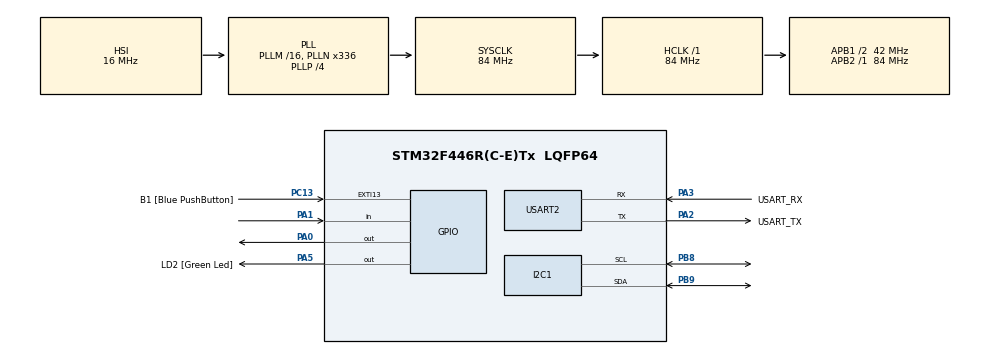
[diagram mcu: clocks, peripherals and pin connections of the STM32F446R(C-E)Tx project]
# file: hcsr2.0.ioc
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Mcu.Family=STM32F4
Mcu.Name=STM32F446R(C-E)Tx
Mcu.Package=LQFP64
NVIC.PriorityGroup=NVIC_PRIORITYGROUP_0
PA0-WKUP.Signal=GPIO_Output
PA1.Signal=GPIO_Input
PA13.GPIO_Label=TMS
PA13.Mode=Serial_Wire
PA13.Signal=SYS_JTMS-SWDIO
PA14.GPIO_Label=TCK
PA14.Mode=Serial_Wire
PA14.Signal=SYS_JTCK-SWCLK
PA2.GPIO_Label=USART_TX
PA2.Mode=Asynchronous
PA2.Signal=USART2_TX
PA3.GPIO_Label=USART_RX
PA3.Mode=Asynchronous
PA3.Signal=USART2_RX
PA5.GPIO_Label=LD2 [Green Led]
PA5.Signal=GPIO_Output
PB3.GPIO_Label=SWO
PB3.Signal=SYS_JTDO-SWO
PB8.Mode=I2C
PB8.Signal=I2C1_SCL
PB9.Mode=I2C
PB9.Signal=I2C1_SDA
PC13.GPIO_Label=B1 [Blue PushButton]
PC13.GPIO_ModeDefaultEXTI=GPIO_MODE_IT_FALLING
PC13.Signal=GPXTI13
PC14-OSC32_IN.Mode=LSE-External-Oscillator
PC14-OSC32_IN.Signal=RCC_OSC32_IN
PC15-OSC32_OUT.Mode=LSE-External-Oscillator
PC15-OSC32_OUT.Signal=RCC_OSC32_OUT
PH0-OSC_IN.Mode=HSE-External-Oscillator
PH0-OSC_IN.Signal=RCC_OSC_IN
PH1-OSC_OUT.Mode=HSE-External-Oscillator
PH1-OSC_OUT.Signal=RCC_OSC_OUT
ProjectManager.HeapSize=0x200
ProjectManager.StackSize=0x400
ProjectManager.TargetToolchain=STM32CubeIDE
RCC.48MHZClocksFreq_Value=84000000
RCC.AHBFreq_Value=84000000
RCC.APB1CLKDivider=RCC_HCLK_DIV2
RCC.APB1Freq_Value=42000000
RCC.APB1TimFreq_Value=84000000
RCC.APB2Freq_Value=84000000
RCC.APB2TimFreq_Value=84000000
RCC.CortexFreq_Value=84000000
RCC.FLatency-AdvancedSettings=FLASH_LATENCY_2
RCC.HCLKFreq_Value=84000000
RCC.HSE_VALUE=8000000
RCC.HSI_VALUE=16000000
RCC.PLLN=336
RCC.PLLP=RCC_PLLP_DIV4
RCC.SYSCLKFreq_VALUE=84000000
RCC.SYSCLKSource=RCC_SYSCLKSOURCE_PLLCLK
RCC.USBFreq_Value=168000000
RCC.VCOOutputFreq_Value=336000000
TIM2.Period=0xFFFF
TIM2.Prescaler=83
USART2.VirtualMode=VM_ASYNC
VP_TIM2_VS_ClockSourceINT.Mode=Internal
board=NUCLEO-F446RE

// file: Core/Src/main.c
/* USER CODE BEGIN Header */
///**
//  ******************************************************************************
//  * @file           : main.c
//  * @brief          : Main program body
//  ******************************************************************************
//  * @attention
//  *
//  * Copyright (c) 2026 STMicroelectronics.
//  * All rights reserved.
//  *
//  * This software is licensed under terms that can be found in the LICENSE file
//  * in the root directory of this software component.
//  * If no LICENSE file comes with this software, it is provided AS-IS.
//  *
//  ******************************************************************************
//  */
/* USER CODE END Header */
#include "main.h"

/* USER CODE BEGIN Includes */
#include "hcsr04.h"
#include <stdio.h>
#include "lcd_i2c.h"

/* USER CODE END Includes */

/* USER CODE BEGIN PTD */
//
/* USER CODE END PTD */

/* USER CODE BEGIN PD */
//
/* USER CODE END PD */

/* USER CODE BEGIN PM */
//
/* USER CODE END PM */

I2C_HandleTypeDef hi2c1;

TIM_HandleTypeDef htim2;

UART_HandleTypeDef huart2;

/* USER CODE BEGIN PV */
//
/* USER CODE END PV */

void SystemClock_Config(void);
static void MX_GPIO_Init(void);
static void MX_TIM2_Init(void);
static void MX_USART2_UART_Init(void);
static void MX_I2C1_Init(void);
/* USER CODE BEGIN PFP */
//
/* USER CODE END PFP */

/* USER CODE BEGIN 0 */
int __io_putchar(int ch)
{
    HAL_UART_Transmit(&huart2, (uint8_t *)&ch, 1, HAL_MAX_DELAY);
    return ch;
}
/* USER CODE END 0 */

int main(void)
{

  /* USER CODE BEGIN 1 */
//
  /* USER CODE END 1 */

  /* MCU Configuration--------------------------------------------------------*/

  /* Reset of all peripherals, Initializes the Flash interface and the Systick. */
  HAL_Init();

  /* USER CODE BEGIN Init */
//
  /* USER CODE END Init */

  /* Configure the system clock */
  SystemClock_Config();

  /* USER CODE BEGIN SysInit */
//
  /* USER CODE END SysInit */

  /* Initialize all configured peripherals */
  MX_GPIO_Init();
  MX_TIM2_Init();
  MX_USART2_UART_Init();
  MX_I2C1_Init();
  /* USER CODE BEGIN 2 */
  HCSR04_Init();     /* Start the µs timer */
  ///
   /* Standard addresses are 0x27 or 0x3F.
      HAL requires the address to be shifted left by 1 bit. */
   uint16_t LCD_ADDR = (0x27 << 1);

   HAL_StatusTypeDef statusl;

   statusl = HAL_I2C_IsDeviceReady(&hi2c1,LCD_ADDR, 3, 10);
//	}
      if (statusl == HAL_OK) {
          // SUCCESS: The STM32 found the LCD
    	  LCD_Init(&hi2c1);
    	  statusl = HAL_I2C_IsDeviceReady(&hi2c1,LCD_ADDR, 3, 10);
          printf("System Online");
      } else {
          // FAILURE: The STM32 cannot find the device
          // Trigger an error LED or serial print
          Error_Handler();
          statusl = HAL_I2C_IsDeviceReady(&hi2c1,LCD_ADDR, 3, 10);
      }

//  LCD_Init(&hi2c1);

  LCD_Clear();
  LCD_SetCursor(0, 0);
  LCD_Print("  HC-SR04 Live  ");
  LCD_SetCursor(0, 1);
  LCD_Print("  Initializing  ");
  HAL_Delay(1500);

  char buf[17];
  float    distance_cm;
  HCSR04_Status status;

  int filter_size = 5;
  float dist_arr[5] = {0,0,0,0,0};
//  float dist_arr[6] = {0,0,0,0,0,0};
  float distance_filt;

  void filter(float* arr, float new){
		  distance_filt = new;

		  for (int i = filter_size-1; i>0;i--){
			  arr[i]= arr[i-1];
			  distance_filt += arr[i-1];
		  }
		  arr[0]=new;
		  //printf("%.1f ; %.1f ; %.1f  \r\n",arr[0], arr[1], arr[2]);
		  distance_filt/=filter_size;

 };

  /* USER CODE END 2 */

  /* Infinite loop */
  while (1)
  {

    /* USER CODE BEGIN 3 */
	  status = HCSR04_Read(&distance_cm);
	  LCD_SetCursor(0, 0);
	  LCD_Print("  Distance (cm) ");
//	  LCD_SetCursor(0, 1);
//	  		  snprintf(buf, sizeof(buf), "    %6.1f cm   ", 0.00);
//	  		LCD_Print(buf);

	  if (status == HCSR04_OK)
	  {
		  filter(dist_arr, distance_cm);
		  printf("Distance: %.1f cm\r\n", distance_filt);
		  LCD_SetCursor(0, 1);
		  snprintf(buf, sizeof(buf), "    %6.1f cm   ", distance_filt);
		  LCD_Print(buf);
	  }
	  else
	  {
		  printf("Sensor timeout — object out of range or missing\r\n");
	  }

	  HAL_Delay(200);   /* Measure ~5 times per second */
  }
  /* USER CODE END 3 */
}

void SystemClock_Config(void)
{
  RCC_OscInitTypeDef RCC_OscInitStruct = {0};
  RCC_ClkInitTypeDef RCC_ClkInitStruct = {0};

  /** Configure the main internal regulator output voltage
  */
  __HAL_RCC_PWR_CLK_ENABLE();
  __HAL_PWR_VOLTAGESCALING_CONFIG(PWR_REGULATOR_VOLTAGE_SCALE3);

  /** Initializes the RCC Oscillators according to the specified parameters
  * in the RCC_OscInitTypeDef structure.
  */
  RCC_OscInitStruct.OscillatorType = RCC_OSCILLATORTYPE_HSI;
  RCC_OscInitStruct.HSIState = RCC_HSI_ON;
  RCC_OscInitStruct.HSICalibrationValue = RCC_HSICALIBRATION_DEFAULT;
  RCC_OscInitStruct.PLL.PLLState = RCC_PLL_ON;
  RCC_OscInitStruct.PLL.PLLSource = RCC_PLLSOURCE_HSI;
  RCC_OscInitStruct.PLL.PLLM = 16;
  RCC_OscInitStruct.PLL.PLLN = 336;
  RCC_OscInitStruct.PLL.PLLP = RCC_PLLP_DIV4;
  RCC_OscInitStruct.PLL.PLLQ = 2;
  RCC_OscInitStruct.PLL.PLLR = 2;
  if (HAL_RCC_OscConfig(&RCC_OscInitStruct) != HAL_OK)
  {
    Error_Handler();
  }

  /** Initializes the CPU, AHB and APB buses clocks
  */
  RCC_ClkInitStruct.ClockType = RCC_CLOCKTYPE_HCLK|RCC_CLOCKTYPE_SYSCLK
                              |RCC_CLOCKTYPE_PCLK1|RCC_CLOCKTYPE_PCLK2;
  RCC_ClkInitStruct.SYSCLKSource = RCC_SYSCLKSOURCE_PLLCLK;
  RCC_ClkInitStruct.AHBCLKDivider = RCC_SYSCLK_DIV1;
  RCC_ClkInitStruct.APB1CLKDivider = RCC_HCLK_DIV2;
  RCC_ClkInitStruct.APB2CLKDivider = RCC_HCLK_DIV1;

  if (HAL_RCC_ClockConfig(&RCC_ClkInitStruct, FLASH_LATENCY_2) != HAL_OK)
  {
    Error_Handler();
  }
}

static void MX_I2C1_Init(void)
{

  hi2c1.Instance = I2C1;
  hi2c1.Init.ClockSpeed = 100000;
  hi2c1.Init.DutyCycle = I2C_DUTYCYCLE_2;
  hi2c1.Init.OwnAddress1 = 0;
  hi2c1.Init.AddressingMode = I2C_ADDRESSINGMODE_7BIT;
  hi2c1.Init.DualAddressMode = I2C_DUALADDRESS_DISABLE;
  hi2c1.Init.OwnAddress2 = 0;
  hi2c1.Init.GeneralCallMode = I2C_GENERALCALL_DISABLE;
  hi2c1.Init.NoStretchMode = I2C_NOSTRETCH_DISABLE;
  if (HAL_I2C_Init(&hi2c1) != HAL_OK)
  {
    Error_Handler();
  }

}

static void MX_TIM2_Init(void)
{

  /* USER CODE BEGIN TIM2_Init 0 */
//
  /* USER CODE END TIM2_Init 0 */

  TIM_ClockConfigTypeDef sClockSourceConfig = {0};
  TIM_MasterConfigTypeDef sMasterConfig = {0};

  /* USER CODE BEGIN TIM2_Init 1 */
//
  /* USER CODE END TIM2_Init 1 */
  htim2.Instance = TIM2;
  htim2.Init.Prescaler = 83;
  htim2.Init.CounterMode = TIM_COUNTERMODE_UP;
  htim2.Init.Period = 0xFFFF;
  htim2.Init.ClockDivision = TIM_CLOCKDIVISION_DIV1;
  htim2.Init.AutoReloadPreload = TIM_AUTORELOAD_PRELOAD_DISABLE;
  if (HAL_TIM_Base_Init(&htim2) != HAL_OK)
  {
    Error_Handler();
  }
  sClockSourceConfig.ClockSource = TIM_CLOCKSOURCE_INTERNAL;
  if (HAL_TIM_ConfigClockSource(&htim2, &sClockSourceConfig) != HAL_OK)
  {
    Error_Handler();
  }
  sMasterConfig.MasterOutputTrigger = TIM_TRGO_RESET;
  sMasterConfig.MasterSlaveMode = TIM_MASTERSLAVEMODE_DISABLE;
  if (HAL_TIMEx_MasterConfigSynchronization(&htim2, &sMasterConfig) != HAL_OK)
  {
    Error_Handler();
  }
  /* USER CODE BEGIN TIM2_Init 2 */
//
  /* USER CODE END TIM2_Init 2 */

}

static void MX_USART2_UART_Init(void)
{

  /* USER CODE BEGIN USART2_Init 0 */
//
  /* USER CODE END USART2_Init 0 */

  /* USER CODE BEGIN USART2_Init 1 */
//
  /* USER CODE END USART2_Init 1 */
  huart2.Instance = USART2;
  huart2.Init.BaudRate = 115200;
  huart2.Init.WordLength = UART_WORDLENGTH_8B;
  huart2.Init.StopBits = UART_STOPBITS_1;
  huart2.Init.Parity = UART_PARITY_NONE;
  huart2.Init.Mode = UART_MODE_TX_RX;
  huart2.Init.HwFlowCtl = UART_HWCONTROL_NONE;
  huart2.Init.OverSampling = UART_OVERSAMPLING_16;
  if (HAL_UART_Init(&huart2) != HAL_OK)
  {
    Error_Handler();
  }
  /* USER CODE BEGIN USART2_Init 2 */
//
  /* USER CODE END USART2_Init 2 */

}

static void MX_GPIO_Init(void)
{
  GPIO_InitTypeDef GPIO_InitStruct = {0};
  /* USER CODE BEGIN MX_GPIO_Init_1 */
//
  /* USER CODE END MX_GPIO_Init_1 */

  /* GPIO Ports Clock Enable */
  __HAL_RCC_GPIOC_CLK_ENABLE();
  __HAL_RCC_GPIOH_CLK_ENABLE();
  __HAL_RCC_GPIOA_CLK_ENABLE();
  __HAL_RCC_GPIOB_CLK_ENABLE();

  /*Configure GPIO pin Output Level */
  HAL_GPIO_WritePin(GPIOA, GPIO_PIN_0|LD2_Pin, GPIO_PIN_RESET);

  /*Configure GPIO pin : B1_Pin */
  GPIO_InitStruct.Pin = B1_Pin;
  GPIO_InitStruct.Mode = GPIO_MODE_IT_FALLING;
  GPIO_InitStruct.Pull = GPIO_NOPULL;
  HAL_GPIO_Init(B1_GPIO_Port, &GPIO_InitStruct);

  /*Configure GPIO pins : PA0 LD2_Pin */
  GPIO_InitStruct.Pin = GPIO_PIN_0|LD2_Pin;
  GPIO_InitStruct.Mode = GPIO_MODE_OUTPUT_PP;
  GPIO_InitStruct.Pull = GPIO_NOPULL;
  GPIO_InitStruct.Speed = GPIO_SPEED_FREQ_LOW;
  HAL_GPIO_Init(GPIOA, &GPIO_InitStruct);

  /*Configure GPIO pin : PA1 */
  GPIO_InitStruct.Pin = GPIO_PIN_1;
  GPIO_InitStruct.Mode = GPIO_MODE_INPUT;
  GPIO_InitStruct.Pull = GPIO_NOPULL;
  HAL_GPIO_Init(GPIOA, &GPIO_InitStruct);

  /* USER CODE BEGIN MX_GPIO_Init_2 */
//
  /* USER CODE END MX_GPIO_Init_2 */
}

/* USER CODE BEGIN 4 */
//
/* USER CODE END 4 */

void Error_Handler(void)
{
  /* USER CODE BEGIN Error_Handler_Debug */
//  /* User can add his own implementation to report the HAL error return state */
//  __disable_irq();
//  while (1)
//  {
//  }
  /* USER CODE END Error_Handler_Debug */
}
#ifdef USE_FULL_ASSERT
/**
  * @brief  Reports the name of the source file and the source line number
  *         where the assert_param error has occurred.
  * @param  file: pointer to the source file name
  * @param  line: assert_param error line source number
  * @retval None
  */
void assert_failed(uint8_t *file, uint32_t line)
{
  /* USER CODE BEGIN 6 */
//  /* User can add his own implementation to report the file name and line number,
//     ex: printf("Wrong parameters value: file %s on line %d\r\n", file, line) */
  /* USER CODE END 6 */
}
#endif /* USE_FULL_ASSERT */
